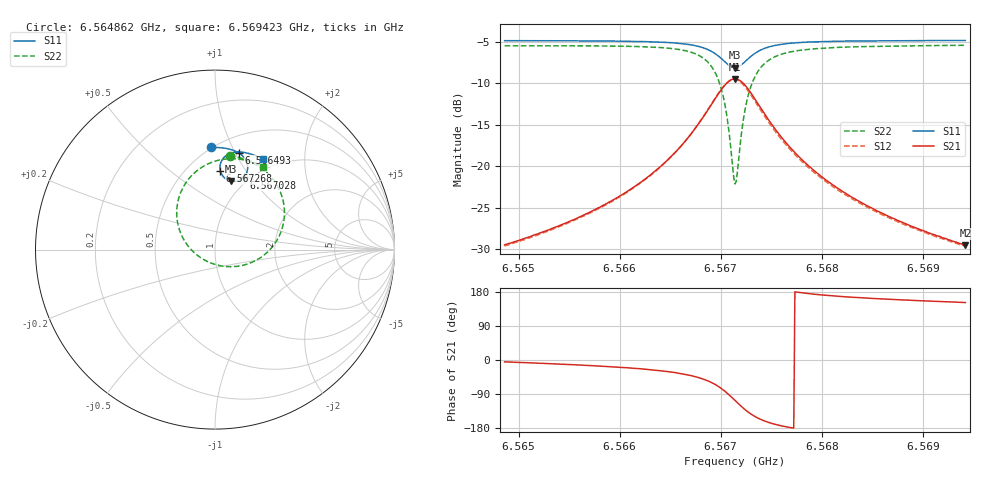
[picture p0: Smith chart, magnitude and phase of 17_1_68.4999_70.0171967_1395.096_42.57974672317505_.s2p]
#  HZ  S  RI  R  50.00
! Rohde & Schwarz Vector Network Analyzer
! Rohde-Schwarz,ZNB20-2Port,1311601062101988,3.16
! Created: UTC 3/20/2024, 4:49:15 PM
! freq[Hz]  re:S11  im:S11  re:S21  im:S21  re:S12  im:S12  re:S22  im:S22
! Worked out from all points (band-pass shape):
!   401 points, 6.564862 GHz to 6.569423 GHz, reference 50 ohm
!   highest |S21| = -9.50 dB at 6.567143 GHz (marker M1); lowest = -29.5 dB at 6.569423 GHz (marker M2)
!   |S21| within 3 dB of the highest: 6.566914 GHz to 6.56737 GHz (456.4 kHz wide, 0.00695 % of centre)
!   lowest |S11| = -8.2 dB at 6.567143 GHz (marker M3), VSWR 2.29, Z = 43.2 + j38.9 ohm
!   |S11| at or under -10 dB: nowhere
!   |S22| runs from -22.2 to -5.4 dB; largest |S21 - S12| = 0.018
!   S11 on the Smith chart (normalised r, x): 6.564862 GHz: 0.49, +0.83; 6.566493 GHz: 0.67, +1.03; 6.567028 GHz: 0.94, +0.93; 6.567268 GHz: 0.71, +0.77; 6.569423 GHz: 0.86, +1.28
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6.5648622e9  -0.0221 0.569  0.0334 -0.00286  0.0328 -0.00339  0.0837 0.5234
6.5656261e9  0.0432 0.5663  0.0487 -0.0117  0.0479 -0.0124  0.1642 0.5037
6.5660479e9  0.0832 0.5588  0.0644 -0.0236  0.0634 -0.0243  0.2219 0.4779
6.56639e9  0.1211 0.5452  0.0862 -0.0456  0.0851 -0.0467  0.2854 0.4327
6.5664926e9  0.1338 0.5381  0.0954 -0.0575  0.094 -0.0588  0.309 0.4089
6.5666978e9  0.1619 0.5138  0.1167 -0.0997  0.1148 -0.102  0.3619 0.3262
6.5668575e9  0.1806 0.4751  0.1254 -0.1684  0.122 -0.1724  0.3868 0.1937
6.5669601e9  0.1786 0.4338  0.1033 -0.241  0.0959 -0.2463  0.347 0.0551
6.5670285e9  0.1594 0.4022  0.0551 -0.2949  0.043 -0.299  0.2548 -0.0441
6.5670855e9  0.1275 0.3829  -0.0134 -0.3249  -0.0293 -0.3243  0.1259 -0.093
6.5671197e9  0.1033 0.3794  -0.0633 -0.3274  -0.0797 -0.3224  0.0351 -0.0911
6.5671425e9  0.0867 0.3815  -0.0968 -0.3207  -0.1128 -0.3129  -0.0242 -0.0741
6.5671653e9  0.0709 0.3871  -0.1285 -0.3076  -0.143 -0.2969  -0.0786 -0.0459
6.5672223e9  0.0409 0.4131  -0.1884 -0.2537  -0.1972 -0.239  -0.1757 0.0589
6.5672679e9  0.0296 0.4394  -0.2127 -0.2023  -0.2165 -0.1871  -0.2089 0.1529
6.5673591e9  0.0324 0.4848  -0.2142 -0.1147  -0.212 -0.1034  -0.1961 0.3054
6.567496e9  0.06 0.5222  -0.1768 -0.0425  -0.1727 -0.0362  -0.1156 0.4264
6.5676556e9  0.0922 0.5389  -0.136 -0.00818  -0.1325 -0.00484  -0.0318 0.4807
6.5679064e9  0.1311 0.5442  -0.0956 0.00984  -0.093 0.0113  0.0569 0.5043
6.5682713e9  0.173 0.5394  -0.0646 0.0159  -0.0629 0.0166  0.1352 0.5038
6.5686703e9  0.2102 0.529  -0.0467 0.0167  -0.0455 0.0171  0.1921 0.4922
6.5694228e9  0.2693 0.5037  -0.0293 0.0159  -0.0287 0.0161  0.2679 0.4621
